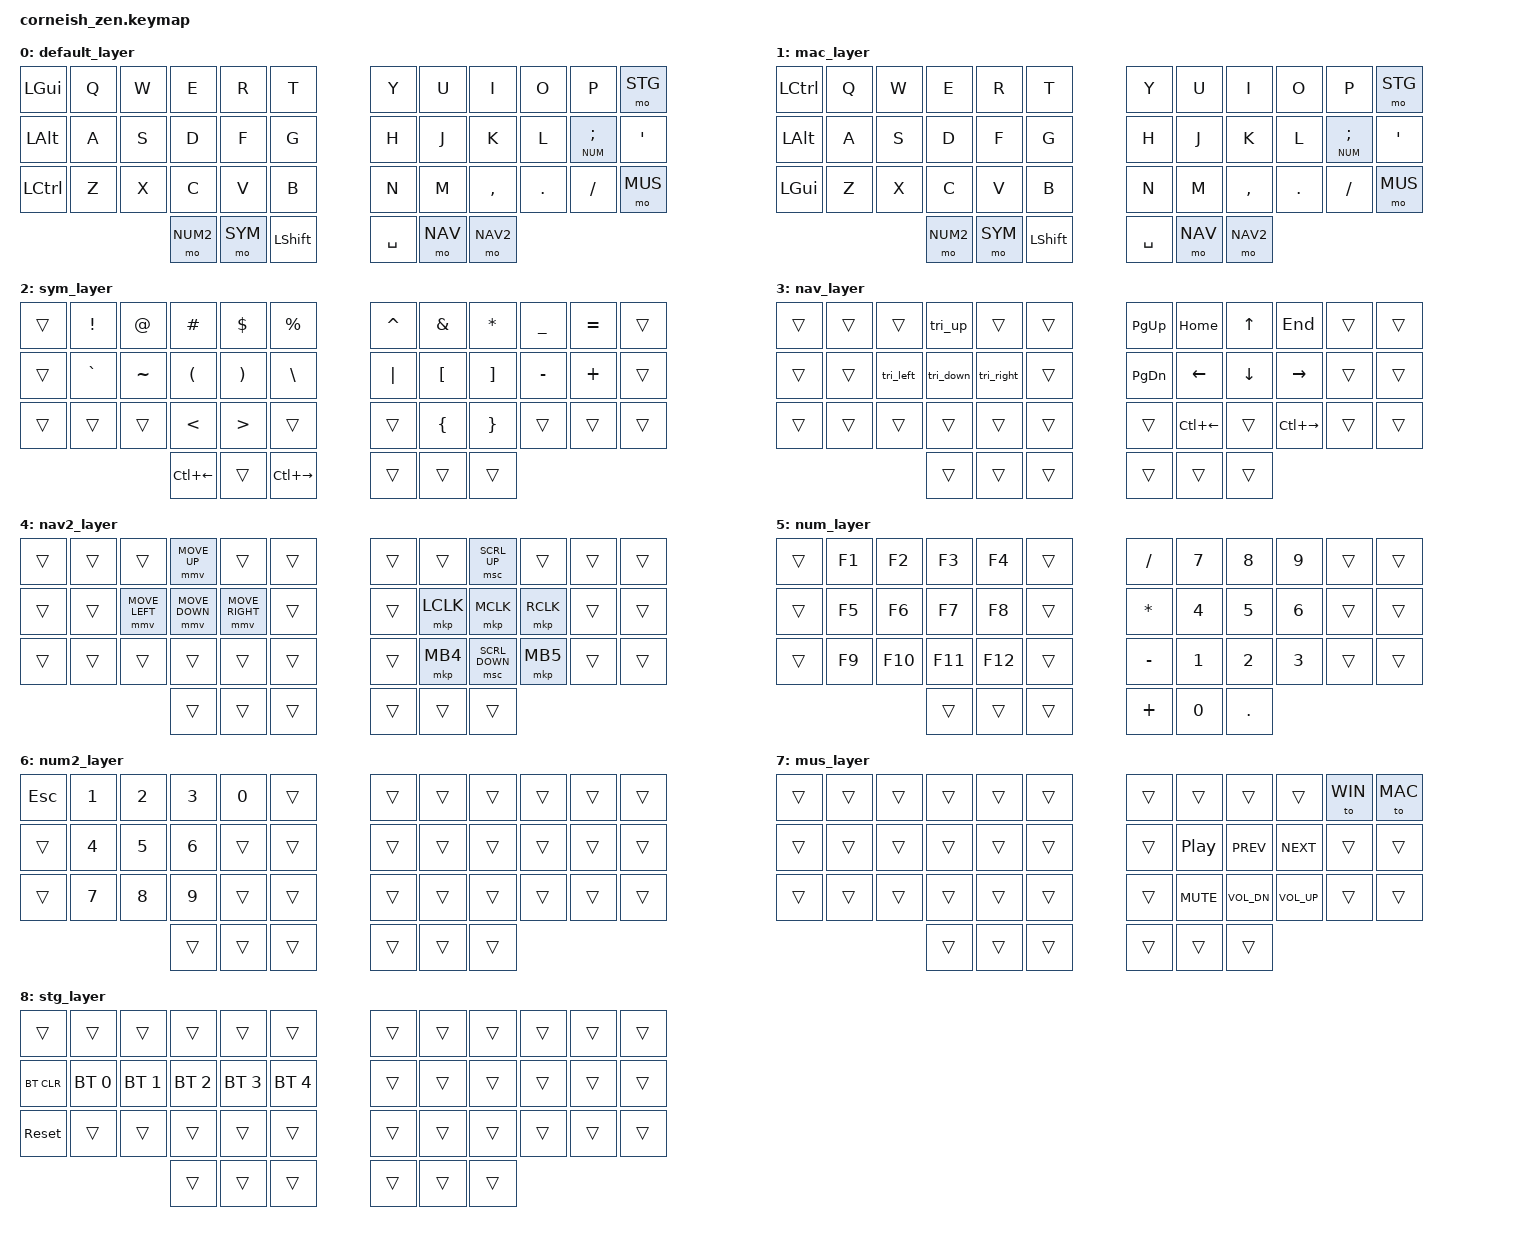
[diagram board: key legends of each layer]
#define ZMK_POINTING_DEFAULT_MOVE_VAL 600  // default: 600
#define ZMK_POINTING_DEFAULT_SCRL_VAL 10    // default: 10

#include <dt-bindings/zmk/pointing.h>

#include <behaviors.dtsi>
#include <dt-bindings/zmk/keys.h>
#include <dt-bindings/zmk/bt.h>


#define WIN 0
#define MAC 1
#define SYM 2
#define NAV 3
#define NAV2 4
#define NUM 5
#define NUM2 6
#define MUS 7
#define STG 8

/ {
  chosen {
    zmk,matrix_transform = &default_transform;
    //zmk,matrix_transform = &five_column_transform;asdf
  };
};

/ {
        behaviors {
            hm: homerow_mods {
                    compatible = "zmk,behavior-hold-tap";
                    label = "HOMEROW_MODS";
                    #binding-cells = <2>;
                    tapping-term-ms = <150>;
                    quick_tap_ms = <150>;
                    flavor = "tap-preferred";
                    global-quick-tap;
                    bindings = <&kp>, <&kp>;
            };
        };

        macros {
            macro_combo_comment: macro_combo_comment {
                label = "macro_combo_comment";
                compatible = "zmk,behavior-macro";
                #binding-cells = <0>;
                bindings 
                    = <&macro_press &kp LCTRL>
                    , <&macro_tap &kp K &kp C>
                    , <&macro_release &kp LCTRL>
                    ;
            };
            macro_combo_uncomment: macro_combo_uncomment {
                label = "macro_combo_uncomment";
                compatible = "zmk,behavior-macro";
                #binding-cells = <0>;
                bindings
                    = <&macro_press &kp LCTRL>
                    , <&macro_tap &kp K &kp U>
                    , <&macro_release &kp LCTRL>
                    ;
            };
            macro_combo_vsc_flip: macro_combo_vsc_flip {
                label = "macro_combo_vsc_flip";
                compatible = "zmk,behavior-macro";
                #binding-cells = <0>;
                bindings
                    = <&macro_press &kp LALT>
                    , <&macro_press &kp LSHFT>
                    , <&macro_tap &kp N0>
                    , <&macro_release &kp LALT>
                    , <&macro_release &kp LSHFT>
                    ;
            };
            macro_combo_excel_copy_val: macro_combo_excel_copy_val {
                label = "macro_combo_excel_copy_val";
                compatible = "zmk,behavior-macro";
                #binding-cells = <0>;
                bindings
                    = <&macro_tap &kp F2>
                    , <&macro_press &kp LCTRL>
                    , <&macro_tap &kp A &kp C>
                    , <&macro_release &kp LCTRL>
                    , <&macro_tap &kp ESC>
                    ;
            };
            macro_combo_mac_scr_shot: macro_combo_mac_scr_shot {
                label = "macro_combo_mac_scr_shot";
                compatible = "zmk,behavior-macro";
                #binding-cells = <0>;
                bindings
                    = <&macro_press &kp LCTRL>
                    , <&macro_press &kp LSHFT>
                    , <&macro_press &kp LGUI>
                    , <&macro_tap &kp N4>
                    , <&macro_release &kp LCTRL>
                    , <&macro_release &kp LSHFT>
                    , <&macro_release &kp LGUI>
                    ;
            };
            tri_left: tri_left {
                label = "tri_left";
                compatible = "zmk,behavior-macro";
                #binding-cells = <0>;
                bindings
                    = <&macro_tap &kp LEFT>
                    , <&macro_tap &kp LEFT>
                    , <&macro_tap &kp LEFT>
                    ;
            };
            tri_right: tri_right {
                label = "tri_right";
                compatible = "zmk,behavior-macro";
                #binding-cells = <0>;
                bindings
                    = <&macro_tap &kp RIGHT>
                    , <&macro_tap &kp RIGHT>
                    , <&macro_tap &kp RIGHT>
                    ;
            };
            tri_up: tri_up {
                label = "tri_up";
                compatible = "zmk,behavior-macro";
                #binding-cells = <0>;
                bindings
                    = <&macro_tap &kp UP>
                    , <&macro_tap &kp UP>
                    , <&macro_tap &kp UP>
                    ;
            };
            tri_down: tri_down {
                label = "tri_down";
                compatible = "zmk,behavior-macro";
                #binding-cells = <0>;
                bindings
                    = <&macro_tap &kp DOWN>
                    , <&macro_tap &kp DOWN>
                    , <&macro_tap &kp DOWN>
                    ;
            };
        };


        combos {
            compatible = "zmk,combos";
            combo_tab {
                    timeout-ms = <50>;
                    key-positions = <1 2>;
                    bindings = <&kp TAB>;
            };
            combo_rent {
                    timeout-ms = <50>;
                    key-positions = <19 32>;
                    bindings = <&kp ENTER>;
            };
            combo_rbackspace {
                    timeout-ms = <50>;
                    key-positions = <19 20>;
                    bindings = <&kp BACKSPACE>;
            };
            combo_lent {
                    timeout-ms = <50>;
                    key-positions = <16 27>;
                    bindings = <&kp ENTER>;
            };
            combo_lbackspace {
                    timeout-ms = <50>;
                    key-positions = <15 16>;
                    bindings = <&kp BACKSPACE>;
            };
            combo_lspace {
                    timeout-ms = <50>;
                    key-positions = <3 16>;
                    bindings = <&kp SPACE>;
            };
            combo_delete {
                    timeout-ms = <50>;
                    key-positions = <16 17>;
                    bindings = <&kp DELETE>;
            };
            combo_esc {
                    timeout-ms = <50>;
                    key-positions = <5 17>;
                    bindings = <&kp ESC>;
            };
            combo_left {
                    timeout-ms = <50>;
                    key-positions = <25 26>;
                    bindings = <&kp LEFT>;
            };
            combo_down {
                    timeout-ms = <50>;
                    key-positions = <26 27>;
                    bindings = <&kp DOWN>;
            };
            combo_right {
                    timeout-ms = <50>;
                    key-positions = <27 28>;
                    bindings = <&kp RIGHT>;
            };
            combo_up {
                    timeout-ms = <50>;
                    key-positions = <14 15>;
                    bindings = <&kp UP>;
            };
            combo_comment {
                    timeout-ms = <50>;
                    key-positions = <25 27>;
                    bindings = <&macro_combo_comment>;
            };
            combo_uncomment {
                    timeout-ms = <50>;
                    key-positions = <25 28>;
                    bindings = <&macro_combo_uncomment>;
            };
            combo_vsc_flip {
                    timeout-ms = <50>;
                    key-positions = <6 30>;
                    bindings = <&macro_combo_vsc_flip>;
            };
            combo_excel_copy_val {
                    timeout-ms = <50>;
                    key-positions = <1 27>;
                    bindings = <&macro_combo_excel_copy_val>;
            };
            combo_mac_scr_shot {
                    timeout-ms = <50>;
                    key-positions = <5 29>;
                    bindings = <&macro_combo_mac_scr_shot>;
            };
            combo_f1 {
                    timeout-ms = <50>;
                    key-positions = <1 13>;
                    bindings = <&kp F1>;
            };
            combo_f2 {
                    timeout-ms = <50>;
                    key-positions = <2 14>;
                    bindings = <&kp F2>;
            };
            combo_f3 {
                    timeout-ms = <50>;
                    key-positions = <3 15>;
                    bindings = <&kp F3>;
            };
            combo_f4 {
                    timeout-ms = <50>;
                    key-positions = <4 16>;
                    bindings = <&kp F4>;
            };
            combo_f5 {
                    timeout-ms = <50>;
                    key-positions = <13 25>;
                    bindings = <&kp F5>;
            };
            combo_f6 {
                    timeout-ms = <50>;
                    key-positions = <14 26>;
                    bindings = <&kp F6>;
            };
            combo_f7 {
                    timeout-ms = <50>;
                    key-positions = <15 27>;
                    bindings = <&kp F7>;
            };
            combo_f8 {
                    timeout-ms = <50>;
                    key-positions = <16 28>;
                    bindings = <&kp F8>;
            };
            combo_f9 {
                    timeout-ms = <50>;
                    key-positions = <1 25>;
                    bindings = <&kp F9>;
            };
            combo_f10 {
                    timeout-ms = <50>;
                    key-positions = <2 26>;
                    bindings = <&kp F10>;
            };
            combo_f11 {
                    timeout-ms = <50>;
                    key-positions = <3 27>;
                    bindings = <&kp F11>;
            };
            combo_f12 {
                    timeout-ms = <50>;
                    key-positions = <4 28>;
                    bindings = <&kp F12>;
            };
        };
        
        keymap {
//      0               1               2               3               4               5        |      6               7               8               9               10              11
//      12              13              14              15              16              17       |      18              19              20              21              22              23
//      24              25              26              27              28              29       |      30              31              32              33              34              35
//                                                      36              37              38       |      39              40              41

                compatible = "zmk,keymap";

                default_layer {
                        bindings = <
        &kp LGUI        &kp Q           &kp W           &kp E           &kp R           &kp T           &kp Y           &kp U           &kp I           &kp O           &kp P           &mo STG
        &kp LALT        &kp A           &kp S           &kp D           &kp F           &kp G           &kp H           &kp J           &kp K           &kp L           &lt NUM SEMI    &kp SQT
        &kp LCTRL       &kp Z           &kp X           &kp C           &kp V           &kp B           &kp N           &kp M           &kp COMMA       &kp DOT         &kp FSLH        &mo MUS
                                                        &mo NUM2        &mo SYM         &kp LSHIFT      &kp SPACE       &mo NAV         &mo NAV2
                        >;
                };
	            mac_layer {
                       bindings = <
        &kp LCTRL       &kp Q           &kp W           &kp E           &kp R           &kp T           &kp Y           &kp U           &kp I           &kp O           &kp P           &mo STG
        &kp LALT        &kp A           &kp S           &kp D           &kp F           &kp G           &kp H           &kp J           &kp K           &kp L           &lt NUM SEMI    &kp SQT
        &kp LGUI        &kp Z           &kp X           &kp C           &kp V           &kp B           &kp N           &kp M           &kp COMMA       &kp DOT         &kp FSLH        &mo MUS
                                                        &mo NUM2        &mo SYM         &kp LSHIFT      &kp SPACE       &mo NAV         &mo NAV2
                        >;
                };
                sym_layer {
                        bindings = <
        &trans          &kp EXCL        &kp AT_SIGN     &kp HASH        &kp DLLR        &kp PRCNT       &kp CARET       &kp AMPS        &kp ASTRK       &kp UNDER       &kp EQUAL       &trans
        &trans          &kp GRAVE       &kp TILDE       &kp LPAR        &kp RPAR        &kp BSLH        &kp PIPE        &kp LBKT        &kp RBKT        &kp MINUS       &kp PLUS        &trans
        &trans          &trans          &trans          &kp LT          &kp GT          &trans          &trans          &kp LBRC        &kp RBRC        &trans          &trans          &trans
                                                        &kp LC(LEFT)    &trans          &kp LC(RIGHT)   &trans          &trans          &trans
                        >;
                };
                nav_layer {
                        bindings = <
        &trans          &trans          &trans          &tri_up         &trans          &trans          &kp PG_UP       &kp HOME        &kp UP          &kp END         &trans          &trans
        &trans          &trans          &tri_left       &tri_down       &tri_right      &trans          &kp PG_DN       &kp LEFT        &kp DOWN        &kp RIGHT       &trans          &trans
        &trans          &trans          &trans          &trans          &trans          &trans          &trans          &kp LC(LEFT)    &trans          &kp LC(RIGHT)   &trans          &trans
                                                        &trans          &trans          &trans          &trans          &trans          &trans
                        >;
                };
                nav2_layer {
                        bindings = <
        &trans          &trans          &trans          &mmv MOVE_UP    &trans          &trans          &trans          &trans          &msc SCRL_UP    &trans          &trans          &trans
        &trans          &trans          &mmv MOVE_LEFT  &mmv MOVE_DOWN  &mmv MOVE_RIGHT &trans          &trans          &mkp LCLK       &mkp MCLK       &mkp RCLK       &trans          &trans
        &trans          &trans          &trans          &trans          &trans          &trans          &trans          &mkp MB4        &msc SCRL_DOWN  &mkp MB5        &trans          &trans
                                                        &trans          &trans          &trans          &trans          &trans          &trans
                        >;
                };
                num_layer {
                        bindings = <
        &trans          &kp F1          &kp F2          &kp F3          &kp F4          &trans          &kp FSLH        &kp N7          &kp N8          &kp N9          &trans          &trans
        &trans          &kp F5          &kp F6          &kp F7          &kp F8          &trans          &kp ASTRK       &kp N4          &kp N5          &kp N6          &trans          &trans
        &trans          &kp F9          &kp F10         &kp F11         &kp F12         &trans          &kp MINUS       &kp N1          &kp N2          &kp N3          &trans          &trans
                                                        &trans          &trans          &trans          &kp PLUS        &kp N0          &kp DOT
                        >;
                };
                num2_layer {
                        bindings = <
        &kp ESC         &kp N1          &kp N2          &kp N3          &kp N0          &trans          &trans        &trans            &trans          &trans          &trans          &trans
        &trans          &kp N4          &kp N5          &kp N6          &trans          &trans          &trans        &trans            &trans          &trans          &trans          &trans
        &trans          &kp N7          &kp N8          &kp N9          &trans          &trans          &trans        &trans            &trans          &trans          &trans          &trans
                                                        &trans          &trans          &trans          &trans        &trans            &trans
                        >;
                };
                mus_layer {
                        bindings = <
        &trans          &trans          &trans          &trans          &trans          &trans          &trans        &trans            &trans          &trans          &to WIN         &to MAC
        &trans          &trans          &trans          &trans          &trans          &trans          &trans        &kp C_PP          &kp C_PREV      &kp C_NEXT      &trans          &trans
        &trans          &trans          &trans          &trans          &trans          &trans          &trans        &kp K_MUTE        &kp C_VOL_DN    &kp C_VOL_UP    &trans          &trans
                                                        &trans          &trans          &trans          &trans        &trans            &trans
                        >;
                };
                stg_layer {
                        bindings = <
        &trans          &trans          &trans          &trans          &trans          &trans          &trans        &trans            &trans          &trans          &trans          &trans
        &bt BT_CLR      &bt BT_SEL 0    &bt BT_SEL 1    &bt BT_SEL 2    &bt BT_SEL 3    &bt BT_SEL 4    &trans        &trans            &trans          &trans          &trans          &trans
        &sys_reset      &trans          &trans          &trans          &trans          &trans          &trans        &trans            &trans          &trans          &trans          &trans
                                                        &trans          &trans          &trans          &trans        &trans            &trans
                        >;
                };
        };
};
